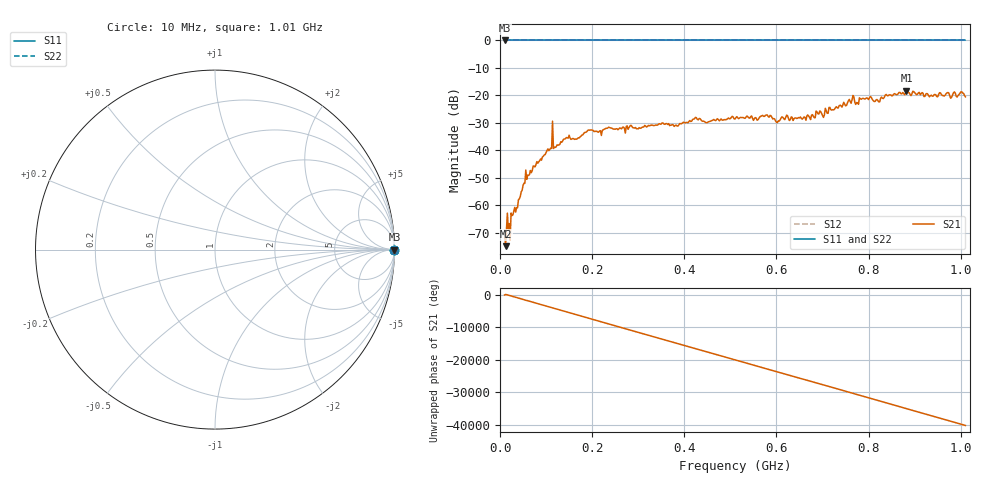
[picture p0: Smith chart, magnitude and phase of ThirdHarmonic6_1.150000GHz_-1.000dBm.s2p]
! 8/16/2025 11:24:44 AM
! C:\ANRITSUVNA\TEMP\TEMP.S2P
! CHANNEL.1
! TR.MEASUREMENT
! RAW.DATA
! RF.CORRECTION.OFF
! AVERAGING.OFF
! IF.BANDWIDTH: 5KHZ
! SWEEPTYPE:  FREQ.SWEEP(Linear)
! Reference Plane Port Info
! PORT:  PORT1  PORT2
! DISTANCE:  0  m  0  m
! TIME:  0  s  0  s
! PHASE.OFFSET:  0  deg.  0  deg.
! LOSS:  0  dB  0  dB
! REF.LOSS:  0  dB  0  dB
! REF.FREQ:  0  Hz  0  Hz
! Power Info
! POWER:  -20  dBm  -20  dBm
! EFF.POWER:  -20  dBm  -20  dBm
! SOURCE.ATTEN:  0  dB  0  dB
! TEST.ATTEN:  0  dB  0  dB
# GHZ S RI R 50.0
! FREQ.GHZ  S11RE  S11IM  S21RE  S21IM  S12RE  S12IM  S22RE  S22IM
!; PortSelection: Port_12
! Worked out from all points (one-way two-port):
!   501 points, 10 MHz to 1.01 GHz, reference 50 ohm
!   highest |S21| = -18.33 dB at 882 MHz (marker M1); lowest = -74.9 dB at 12 MHz (marker M2)
!   lowest |S11| = 0.0 dB at 10 MHz (marker M3)
!   |S11| at or under -10 dB: nowhere
!   |S22| runs from 0.0 to 0.0 dB; largest |S21 - S12| = 1.1
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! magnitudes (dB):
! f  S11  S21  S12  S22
! 10 MHz  0.0  -69.1  0.0  0.0
! 12 MHz  0.0  -74.9  0.0  0.0
! 22 MHz  0.0  -72.7  0.0  0.0
! 28 MHz  0.0  -63.5  0.0  0.0
! 56 MHz  0.0  -47.2  0.0  0.0
! 108 MHz  0.0  -39.7  0.0  0.0
! 110 MHz  0.0  -39.2  0.0  0.0
! 118 MHz  0.0  -38.8  0.0  0.0
! 120 MHz  0.0  -38.9  0.0  0.0
! 146 MHz  0.0  -35.5  0.0  0.0
! 178 MHz  0.0  -34.4  0.0  0.0
! 194 MHz  0.0  -32.7  0.0  0.0
! 344 MHz  0.0  -30.5  0.0  0.0
! 510 MHz  0.0  -28.6  0.0  0.0
! 578 MHz  0.0  -27.1  0.0  0.0
! 602 MHz  0.0  -29.9  0.0  0.0
! 678 MHz  0.0  -27.0  0.0  0.0
! 764 MHz  0.0  -21.6  0.0  0.0
! 774 MHz  0.0  -22.6  0.0  0.0
! 844 MHz  0.0  -19.9  0.0  0.0
! 882 MHz  0.0  -18.3  0.0  0.0
! 1.01 GHz  0.0  -20.5  0.0  0.0
